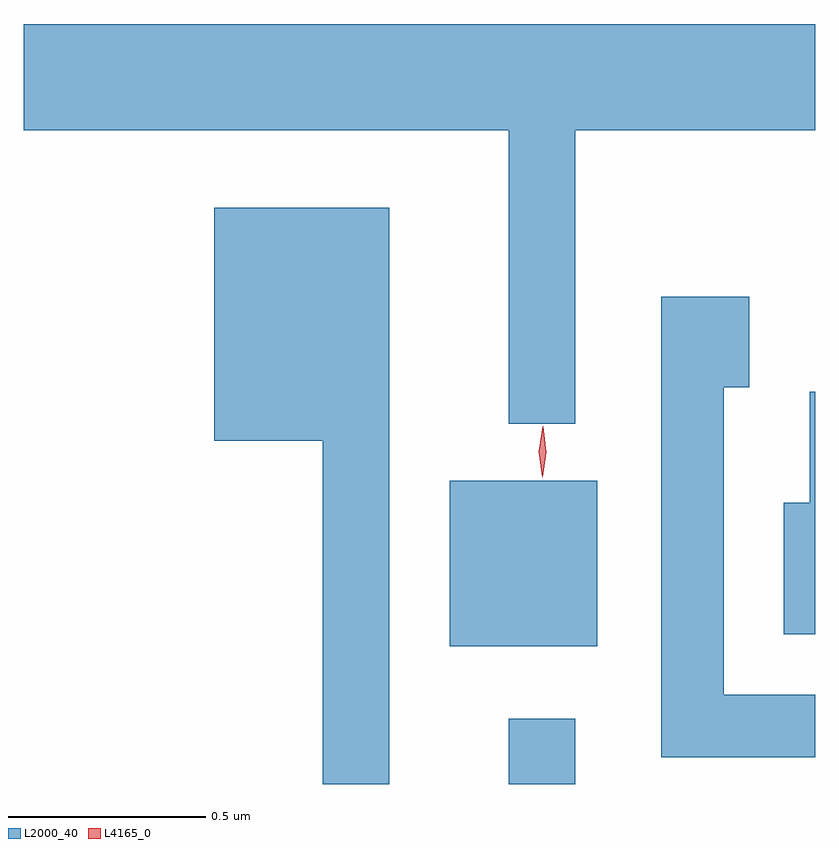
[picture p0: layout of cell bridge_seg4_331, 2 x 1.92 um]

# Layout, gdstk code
import gdstk
lib = gdstk.Library(unit=1e-6, precision=1e-09)
def R(c, l, rs):  # rectangles x0, y0, x1, y1
    for r in rs: c.add(gdstk.rectangle(r[:2], r[2:], *l))
def P(c, l, *ps):  # polygons
    for p in ps: c.add(gdstk.Polygon(p, *l))
L2000_40 = (2000, 40)
L4165_0 = (4165, 0)

bridge_seg4_331 = lib.new_cell('bridge_seg4_331')
R(bridge_seg4_331, L2000_40, [(679.991,1321.943,680.159,1322.108), (679.841,1322.291,680.214,1322.709)])
P(bridge_seg4_331, L2000_40, [(680.159,1323.596),(680.765,1323.596),(680.765,1323.864),(678.765,1323.864),(678.765,1323.596),(679.991,1323.596),(679.991,1322.853),(680.159,1322.853)],
  [(679.689,1323.399),(679.246,1323.399),(679.246,1322.811),(679.521,1322.811),(679.521,1321.943),(679.689,1321.943)],
  [(680.765,1322.169),(680.534,1322.169),(680.534,1322.946),(680.599,1322.946),(680.599,1323.174),(680.376,1323.174),(680.376,1322.011),(680.765,1322.011)],
  [(680.765,1322.934),(680.751,1322.934),(680.751,1322.654),(680.686,1322.654),(680.686,1322.321),(680.765,1322.321)])
P(bridge_seg4_331, L4165_0, [(680.075,1322.718),(680.075,1322.719),(680.066,1322.783),(680.077,1322.847),(680.077,1322.847),(680.078,1322.847),(680.086,1322.782),(680.076,1322.719)])

lib.write_gds('bridge_seg4_331.gds')
